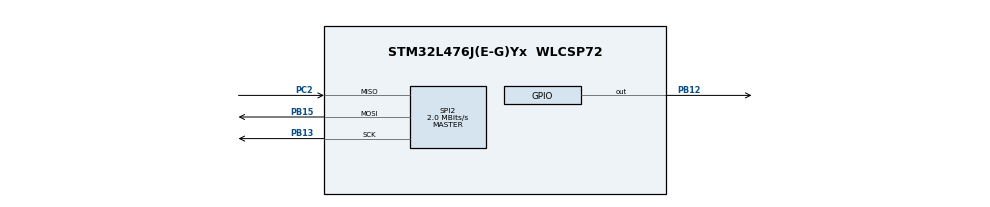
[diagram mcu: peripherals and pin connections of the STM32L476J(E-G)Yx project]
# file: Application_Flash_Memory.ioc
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Mcu.Family=STM32L4
Mcu.Name=STM32L476J(E-G)Yx
Mcu.Package=WLCSP72
NVIC.PriorityGroup=NVIC_PRIORITYGROUP_4
PB12.Signal=GPIO_Output
PB13.Mode=Full_Duplex_Master
PB13.Signal=SPI2_SCK
PB15.Mode=Full_Duplex_Master
PB15.Signal=SPI2_MOSI
PC2.Mode=Full_Duplex_Master
PC2.Signal=SPI2_MISO
ProjectManager.HeapSize=0x200
ProjectManager.StackSize=0x400
ProjectManager.TargetToolchain=EWARM V8
RCC.HSE_VALUE=8000000
RCC.HSI_VALUE=16000000
RCC.LSE_VALUE=32768
RCC.MSI_VALUE=4000000
RCC.VCOOutputFreq_Value=32000000
SPI2.CalculateBaudRate=2.0 MBits/s
SPI2.Direction=SPI_DIRECTION_2LINES
SPI2.Mode=SPI_MODE_MASTER
SPI2.VirtualType=VM_MASTER
board=custom

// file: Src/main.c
/* USER CODE BEGIN Header */
/**
  ******************************************************************************
  * @file           : main.c
  * @brief          : Main program body for flash updation of VIM
  * @author			: Shantam Bajpai
  ******************************************************************************
  ** This notice applies to any and all portions of this file
  * that are not between comment pairs USER CODE BEGIN and
  * USER CODE END. Other portions of this file, whether
  * inserted by the user or by software development tools
  * are owned by their respective copyright owners.
  *
  * COPYRIGHT(c) 2019 STMicroelectronics
  *
  * Redistribution and use in source and binary forms, with or without modification,
  * are permitted provided that the following conditions are met:
  *   1. Redistributions of source code must retain the above copyright notice,
  *      this list of conditions and the following disclaimer.
  *   2. Redistributions in binary form must reproduce the above copyright notice,
  *      this list of conditions and the following disclaimer in the documentation
  *      and/or other materials provided with the distribution.
  *   3. Neither the name of STMicroelectronics nor the names of its contributors
  *      may be used to endorse or promote products derived from this software
  *      without specific prior written permission.
  *
  * THIS SOFTWARE IS PROVIDED BY THE COPYRIGHT HOLDERS AND CONTRIBUTORS "AS IS"
  * AND ANY EXPRESS OR IMPLIED WARRANTIES, INCLUDING, BUT NOT LIMITED TO, THE
  * IMPLIED WARRANTIES OF MERCHANTABILITY AND FITNESS FOR A PARTICULAR PURPOSE ARE
  * DISCLAIMED. IN NO EVENT SHALL THE COPYRIGHT HOLDER OR CONTRIBUTORS BE LIABLE
  * FOR ANY DIRECT, INDIRECT, INCIDENTAL, SPECIAL, EXEMPLARY, OR CONSEQUENTIAL
  * DAMAGES (INCLUDING, BUT NOT LIMITED TO, PROCUREMENT OF SUBSTITUTE GOODS OR
  * SERVICES; LOSS OF USE, DATA, OR PROFITS; OR BUSINESS INTERRUPTION) HOWEVER
  * CAUSED AND ON ANY THEORY OF LIABILITY, WHETHER IN CONTRACT, STRICT LIABILITY,
  * OR TORT (INCLUDING NEGLIGENCE OR OTHERWISE) ARISING IN ANY WAY OUT OF THE USE
  * OF THIS SOFTWARE, EVEN IF ADVISED OF THE POSSIBILITY OF SUCH DAMAGE.
  *
  ******************************************************************************
  */
/* USER CODE END Header */

#include "main.h"

/* USER CODE BEGIN Includes */
#include "stdlib.h"
#include "string.h"
#include "stdio.h"
/* USER CODE END Includes */

/* USER CODE BEGIN PTD */
typedef struct{
	int age;
	char FirstName[15];
	char MiddleName[15];
	char LastName[15];
}Update_FlashInitTypeDef;

struct Node
{
	char data;
	struct Node* next;
};
struct Node* front = NULL;
struct Node* tail = NULL;
/* USER CODE END PTD */

/* USER CODE BEGIN PM */
Update_FlashInitTypeDef __uninited_region_start__  __attribute__((section(".upflash"))) ;
const Update_FlashInitTypeDef *lConfigureFlash = &__uninited_region_start__;

/* USER CODE END PM */

SPI_HandleTypeDef hspi2;

void SystemClock_Config(void);
static void MX_GPIO_Init(void);
static void MX_SPI2_Init(void);
/* USER CODE BEGIN PFP */

int _write(int fd, char *str, int len)
{return (HAL_UART_Transmit(&huart2,(uint8_t*)str,len,HAL_MAX_DELAY)==HAL_OK) ? (len): (0);}

void Flash_Write(uint32_t Flash_address , uint8_t Flash_Data);
void Flash_Write_Int(uint32_t Flash_address_int, uint32_t Flash_Data_int);
//uint32_t Flash_Read(uint32_t Flash_address);
void Flash_Read(uint32_t Flash_address);
void EnqueueData(char x);
void Dequeue();

/* USER CODE END PFP */

/* USER CODE BEGIN 0 */
uint32_t Flash_address __attribute__((unused));
char rxData;
/**important as the compiler thinks that its value wont change through the project life cycle hence use volatile
to tell compiler that its value will change during the program lifecycle**/
volatile uint8_t newline;
char buffer[40];
volatile uint8_t length = 0;
int count = 0;
int StringLengthFirst = 0;
int StringLengthLast = 0;
/* USER CODE END 0 */

int main(void)
{

  /* MCU Configuration--------------------------------------------------------*/

  /* Reset of all peripherals, Initializes the Flash interface and the Systick. */
  HAL_Init();

  /* USER CODE BEGIN Init */
  char myAge[3];
  /* USER CODE END Init */

  /* Configure the system clock */
  SystemClock_Config();

  /* Initialize all configured peripherals */
  MX_GPIO_Init();
  MX_SPI2_Init();
  /* USER CODE BEGIN 2 */
  HAL_UART_Receive_IT(&huart2, (uint8_t*)&rxData, 1);
  /* USER CODE END 2 */

  /* Infinite loop */
  /* USER CODE BEGIN WHILE */
   if(newline)
   	    {

   	    while(length)
   	    {
   	  	  Dequeue();
   	    }
   	    newline--; //Reset Newline
   	    /**DECLARATION OF TOKEN**/
   	    char* token = strtok(buffer , ":");
   	    /**END F DECLARATION OF TOKEN**/

   	    /**STRING CHECK TO SEE IF WRITE DATA or READ DATA**/

   	    if(strcmp(token,"WRITE DATA")==0)
   	    {
   	  	/**FLASH SECTOR ERASE FUNCTIONALITY**/
   	  	HAL_FLASH_Unlock();
   	    __HAL_FLASH_CLEAR_FLAG(FLASH_FLAG_EOP | FLASH_FLAG_OPERR | FLASH_FLAG_WRPERR | FLASH_FLAG_PGAERR | FLASH_FLAG_PGSERR );
   	    FLASH_Erase_Sector(FLASH_SECTOR_4,VOLTAGE_RANGE_3);
   	    HAL_FLASH_Lock();
   	    /**FLASH ERASE SECTOR COMPLETE**/
   	  	  for(int i=0;i<3;i++)
   	  	  {
   	  		  token = strtok(NULL , ",");
   	  		  if(i==0)
   	  		  {
   	  			  printf("%s,%d\r\n",token,i);
   	  			  for(int i=0;i<strlen(token);i++)
   	  				  {
   	  				  	  StringLengthFirst = strlen(token);
   	  				  	  Flash_Write((__IO uint32_t)&lConfigureFlash->FirstName[i],token[i]);
   	  				  }
   	  		  }
   	  		  else if(i==1)
   	  		  {
   	  			  printf("%s,%d\r\n",token,i);
   	  			  for(int j=0;j<strlen(token);j++)
   	  				  {
   	  				  	  StringLengthLast = strlen(token);
   	  				  	  Flash_Write((__IO uint32_t)&lConfigureFlash->LastName[j],token[j]);
   	  				  }
   	  		  }
   	  		  else if(i==2)
   	  		  {
   	  			  printf("%s,%d\r\n",token,i);
   	  			  for(int j=0;j<strlen(token);j++)
   	  				  myAge[j] = token[j];
   	  			  Flash_Write_Int((__IO uint32_t)&lConfigureFlash->age,atoi(myAge));  //ASCII to Integer
   	  		  }
   	  	 }

   	  }
   	    else if(strcmp(token , "READ DATA")==0)
   	    {
   	  	  printf("%d\r\n",lConfigureFlash->age);
  	  	  for(int i=0;i<StringLengthFirst;i++)
   	  		  printf("%c",lConfigureFlash->FirstName[i]);
  	  	  printf("\n");
   	  	  for(int i=0;i<StringLengthLast;i++)
   	  		  printf("%c",lConfigureFlash->LastName[i]);
   	  	  printf("\n");
   	    }
	   else
   	    {
   	    	printf("Format in which you entered the data is not valid");
   	    }
   	  }
   	  for(int i=0;i<sizeof(buffer);i++)
   		  buffer[i] = 0;  //Setting buffer to0 for continuous updation of data
   	   count = 0; //Reset Counter
    /* USER CODE END WHILE */

    /* USER CODE BEGIN 3 */
  /* USER CODE BEGIN WHILE */
    /* USER CODE END WHILE */
}

  /* USER CODE END 3 */
}

void SystemClock_Config(void)
{
  RCC_OscInitTypeDef RCC_OscInitStruct = {0};
  RCC_ClkInitTypeDef RCC_ClkInitStruct = {0};

  /** Initializes the CPU, AHB and APB busses clocks
  */
  RCC_OscInitStruct.OscillatorType = RCC_OSCILLATORTYPE_MSI;
  RCC_OscInitStruct.MSIState = RCC_MSI_ON;
  RCC_OscInitStruct.MSICalibrationValue = 0;
  RCC_OscInitStruct.MSIClockRange = RCC_MSIRANGE_6;
  RCC_OscInitStruct.PLL.PLLState = RCC_PLL_NONE;
  if (HAL_RCC_OscConfig(&RCC_OscInitStruct) != HAL_OK)
  {
    Error_Handler();
  }
  /** Initializes the CPU, AHB and APB busses clocks
  */
  RCC_ClkInitStruct.ClockType = RCC_CLOCKTYPE_HCLK|RCC_CLOCKTYPE_SYSCLK
                              |RCC_CLOCKTYPE_PCLK1|RCC_CLOCKTYPE_PCLK2;
  RCC_ClkInitStruct.SYSCLKSource = RCC_SYSCLKSOURCE_MSI;
  RCC_ClkInitStruct.AHBCLKDivider = RCC_SYSCLK_DIV1;
  RCC_ClkInitStruct.APB1CLKDivider = RCC_HCLK_DIV1;
  RCC_ClkInitStruct.APB2CLKDivider = RCC_HCLK_DIV1;

  if (HAL_RCC_ClockConfig(&RCC_ClkInitStruct, FLASH_LATENCY_0) != HAL_OK)
  {
    Error_Handler();
  }
  /** Configure the main internal regulator output voltage
  */
  if (HAL_PWREx_ControlVoltageScaling(PWR_REGULATOR_VOLTAGE_SCALE1) != HAL_OK)
  {
    Error_Handler();
  }
}

static void MX_SPI2_Init(void)
{

  /* SPI2 parameter configuration*/
  hspi2.Instance = SPI2;
  hspi2.Init.Mode = SPI_MODE_MASTER;
  hspi2.Init.Direction = SPI_DIRECTION_2LINES;
  hspi2.Init.DataSize = SPI_DATASIZE_4BIT;
  hspi2.Init.CLKPolarity = SPI_POLARITY_LOW;
  hspi2.Init.CLKPhase = SPI_PHASE_1EDGE;
  hspi2.Init.NSS = SPI_NSS_SOFT;
  hspi2.Init.BaudRatePrescaler = SPI_BAUDRATEPRESCALER_2;
  hspi2.Init.FirstBit = SPI_FIRSTBIT_MSB;
  hspi2.Init.TIMode = SPI_TIMODE_DISABLE;
  hspi2.Init.CRCCalculation = SPI_CRCCALCULATION_DISABLE;
  hspi2.Init.CRCPolynomial = 7;
  hspi2.Init.CRCLength = SPI_CRC_LENGTH_DATASIZE;
  hspi2.Init.NSSPMode = SPI_NSS_PULSE_ENABLE;
  if (HAL_SPI_Init(&hspi2) != HAL_OK)
  {
    Error_Handler();
  }

}

static void MX_GPIO_Init(void)
{
  GPIO_InitTypeDef GPIO_InitStruct = {0};

  /* GPIO Ports Clock Enable */
  __HAL_RCC_GPIOC_CLK_ENABLE();
  __HAL_RCC_GPIOB_CLK_ENABLE();

  /*Configure GPIO pin Output Level */
  HAL_GPIO_WritePin(GPIOB, GPIO_PIN_12, GPIO_PIN_RESET);

  /*Configure GPIO pin : PB12 */
  GPIO_InitStruct.Pin = GPIO_PIN_12;
  GPIO_InitStruct.Mode = GPIO_MODE_OUTPUT_PP;
  GPIO_InitStruct.Pull = GPIO_NOPULL;
  GPIO_InitStruct.Speed = GPIO_SPEED_FREQ_LOW;
  HAL_GPIO_Init(GPIOB, &GPIO_InitStruct);

}

/* USER CODE BEGIN 4 */

/**DEVELOPMENT OF QUEUE FOR RECIEVING DATA**/

void EnqueueData(char x)
{
	struct Node* temp = (struct Node*)malloc((sizeof(struct Node)));
	temp->data = x;
	temp->next = NULL;
	if(front == NULL && tail == NULL)
	{
		front = tail = temp;
	}
	tail->next = temp;
	tail = temp;
	length++;
}

/**END OF ENQUEUE FUNCTION**/

/**DEVELOPMENT OF DEQUEUE FUNCTION**/

void Dequeue()
{
	struct Node* temp = front;
	if(front == NULL)
		{
		return;
		}
	else if(front == tail)
	{
		front = tail = NULL;
	}
	else
	{
		front = front->next;
	}
	buffer[count] = temp->data;
	free(temp);
	count++;
	length--;
	if(count > 40)
	{
		printf("Out of Bounds Data!!!");
	}
}

void Flash_Write(uint32_t Flash_address , uint8_t Flash_Data) //FOR CHAR DATATYPE
{
	HAL_FLASH_Unlock();
	__HAL_FLASH_CLEAR_FLAG(FLASH_FLAG_EOP | FLASH_FLAG_OPERR | FLASH_FLAG_WRPERR | FLASH_FLAG_PGAERR | FLASH_FLAG_PGSERR );
	HAL_FLASH_Program(FLASH_TYPEPROGRAM_BYTE , Flash_address , Flash_Data);
	HAL_FLASH_Lock();
}

void Flash_Write_Int(uint32_t Flash_address_int, uint32_t Flash_Data_int) //FOR INT DATATYPE
{
	HAL_FLASH_Unlock();
	__HAL_FLASH_CLEAR_FLAG(FLASH_FLAG_EOP | FLASH_FLAG_OPERR | FLASH_FLAG_WRPERR | FLASH_FLAG_PGAERR | FLASH_FLAG_PGSERR );
	HAL_FLASH_Program(FLASH_TYPEPROGRAM_WORD,Flash_address_int,Flash_Data_int);
	HAL_FLASH_Lock();
}
void Flash_Read(uint32_t Flash_address)
{
	uint32_t Flash_Data;
	Flash_Data = *(uint32_t*)Flash_address;
	printf("%lu",Flash_Data);
}

void HAL_UART_RxCpltCallback(UART_HandleTypeDef *huart)
{
	EnqueueData(rxData);
	if(rxData == '\n')
		newline++;
	HAL_UART_Receive_IT(huart , (uint8_t*)&rxData , 1);
}
/* USER CODE END 4 */

void Error_Handler(void)
{
}

/************************ (C) COPYRIGHT STMicroelectronics *****END OF FILE****/
